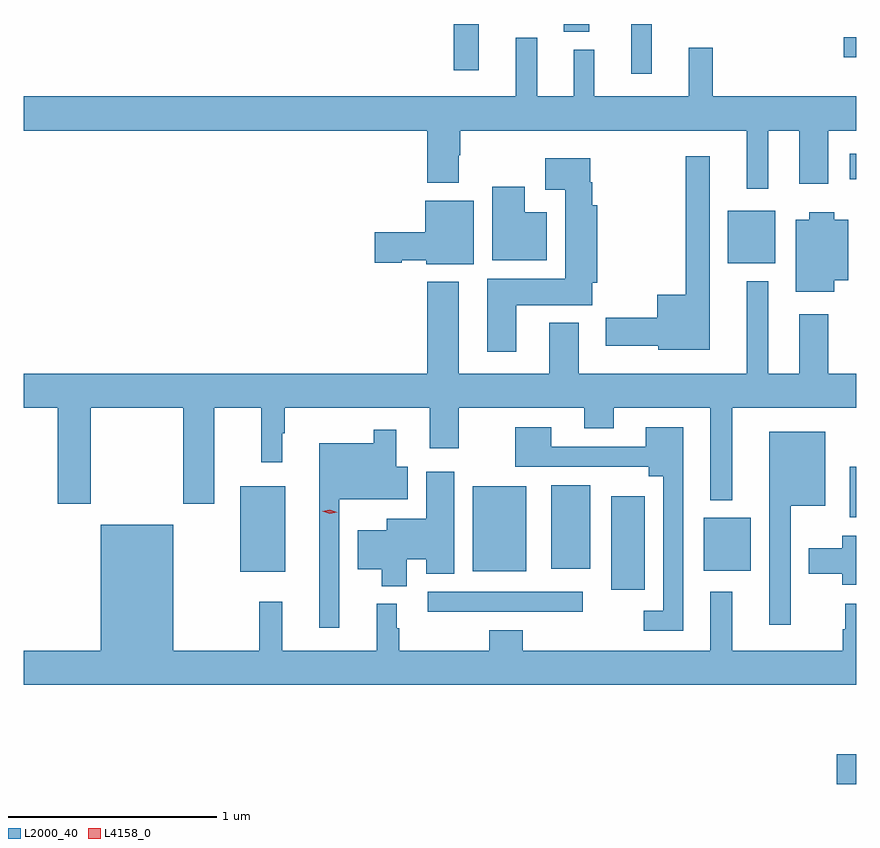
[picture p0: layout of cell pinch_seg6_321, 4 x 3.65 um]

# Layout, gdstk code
import gdstk
lib = gdstk.Library(unit=1e-6, precision=1e-09)
def R(c, l, rs):  # rectangles x0, y0, x1, y1
    for r in rs: c.add(gdstk.rectangle(r[:2], r[2:], *l))
def P(c, l, *ps):  # polygons
    for p in ps: c.add(gdstk.Polygon(p, *l))
L2000_40 = (2000, 40)
L4158_0 = (4158, 0)

pinch_seg6_321 = lib.new_cell('pinch_seg6_321')
R(pinch_seg6_321, L2000_40, [(664.17,981.491,664.263,981.633), (662.205,982.32,662.95,982.416), (663.086,982.425,663.247,982.873), (661.304,982.511,661.519,982.921), (662.42,982.514,662.677,982.921), (663.53,982.517,663.757,982.771), (662.798,982.526,662.986,982.927), (664.233,982.772,664.263,983.017), (663.647,983.993,663.874,984.247), (664.233,984.398,664.263,984.52), (663.183,984.906,663.28,985.144), (662.328,984.921,662.449,985.144), (664.203,984.984,664.263,985.08), (662.858,985.106,662.98,985.144)])
P(pinch_seg6_321, L2000_40, [(663.841,984.632),(663.989,984.632),(663.989,984.375),(664.129,984.375),(664.129,984.632),(664.263,984.632),(664.263,984.796),(663.575,984.796),(663.575,985.03),(663.458,985.03),(663.458,984.796),(663.005,984.796),(663.005,985.021),(662.906,985.021),(662.906,984.796),(662.731,984.796),(662.731,985.078),(662.627,985.078),(662.627,984.796),(660.263,984.796),(660.263,984.632),(662.201,984.632),(662.201,984.38),(662.353,984.38),(662.353,984.512),(662.361,984.512),(662.361,984.632),(663.737,984.632),(663.737,984.351),(663.841,984.351)],
  [(663.559,984.508),(663.445,984.508),(663.445,983.842),(663.308,983.842),(663.308,983.732),(663.06,983.732),(663.06,983.597),(663.312,983.597),(663.312,983.579),(663.559,983.579)],
  [(662.629,983.792),(662.994,983.792),(662.994,983.901),(663.018,983.901),(663.018,984.273),(662.994,984.273),(662.994,984.384),(662.986,984.384),(662.986,984.499),(662.769,984.499),(662.769,984.347),(662.864,984.347),(662.864,983.92),(662.489,983.92),(662.489,983.568),(662.629,983.568)],
  [(662.776,984.238),(662.671,984.238),(662.671,984.361),(662.513,984.361),(662.513,984.008),(662.776,984.008)],
  [(662.425,984.295),(662.192,984.295),(662.192,984.143),(661.95,984.143),(661.95,983.996),(662.079,983.996),(662.079,984.008),(662.196,984.008),(662.196,983.99),(662.425,983.99)],
  [(664.159,983.912),(664.225,983.912),(664.225,984.202),(664.159,984.202),(664.159,984.238),(664.037,984.238),(664.037,984.202),(663.974,984.202),(663.974,983.858),(664.159,983.858)],
  [(660.585,983.3),(661.03,983.3),(661.03,982.839),(661.177,982.839),(661.177,983.3),(661.405,983.3),(661.405,983.037),(661.504,983.037),(661.504,983.177),(661.516,983.177),(661.516,983.3),(662.213,983.3),(662.213,983.106),(662.353,983.106),(662.353,983.3),(662.957,983.3),(662.957,983.201),(663.097,983.201),(663.097,983.3),(663.563,983.3),(663.563,982.856),(663.667,982.856),(663.667,983.3),(664.263,983.3),(664.263,983.464),(664.129,983.464),(664.129,983.749),(663.989,983.749),(663.989,983.464),(663.841,983.464),(663.841,983.908),(663.737,983.908),(663.737,983.464),(662.929,983.464),(662.929,983.707),(662.789,983.707),(662.789,983.464),(662.353,983.464),(662.353,983.905),(662.201,983.905),(662.201,983.464),(660.263,983.464),(660.263,983.3),(660.425,983.3),(660.425,982.839),(660.585,982.839)],
  [(663.432,982.874),(663.433,982.874),(663.433,983.206),(663.251,983.206),(663.251,983.112),(662.797,983.112),(662.797,983.206),(662.624,983.206),(662.624,983.016),(663.266,983.016),(663.266,982.97),(663.336,982.97),(663.336,982.323),(663.243,982.323),(663.243,982.227),(663.432,982.227)],
  [(661.779,982.859),(662.107,982.859),(662.107,983.017),(662.053,983.017),(662.053,983.194),(661.944,983.194),(661.944,983.128),(661.682,983.128),(661.682,982.242),(661.779,982.242)],
  [(663.949,982.829),(664.114,982.829),(664.114,983.185),(663.845,983.185),(663.845,982.257),(663.949,982.257)],
  [(662.104,982.571),(662.198,982.571),(662.198,982.501),(662.332,982.501),(662.332,982.993),(662.198,982.993),(662.198,982.765),(662.006,982.765),(662.006,982.711),(661.868,982.711),(661.868,982.523),(661.982,982.523),(661.982,982.442),(662.104,982.442)],
  [(664.263,982.357),(664.211,982.357),(664.211,982.236),(664.199,982.236),(664.199,982.132),(663.667,982.132),(663.667,982.414),(663.563,982.414),(663.563,982.132),(662.66,982.132),(662.66,982.231),(662.5,982.231),(662.5,982.132),(662.068,982.132),(662.068,982.239),(662.056,982.239),(662.056,982.357),(661.958,982.357),(661.958,982.132),(661.505,982.132),(661.505,982.366),(661.395,982.366),(661.395,982.132),(660.982,982.132),(660.982,982.738),(660.632,982.738),(660.632,982.132),(660.263,982.132),(660.263,981.968),(664.263,981.968)],
  [(664.263,982.684),(664.196,982.684),(664.196,982.624),(664.035,982.624),(664.035,982.502),(664.196,982.502),(664.196,982.448),(664.263,982.448)])
P(pinch_seg6_321, L4158_0, [(661.733,982.789),(661.698,982.801),(661.698,982.801),(661.698,982.801),(661.734,982.809),(661.769,982.798),(661.769,982.797),(661.769,982.797)])

lib.write_gds('pinch_seg6_321.gds')
